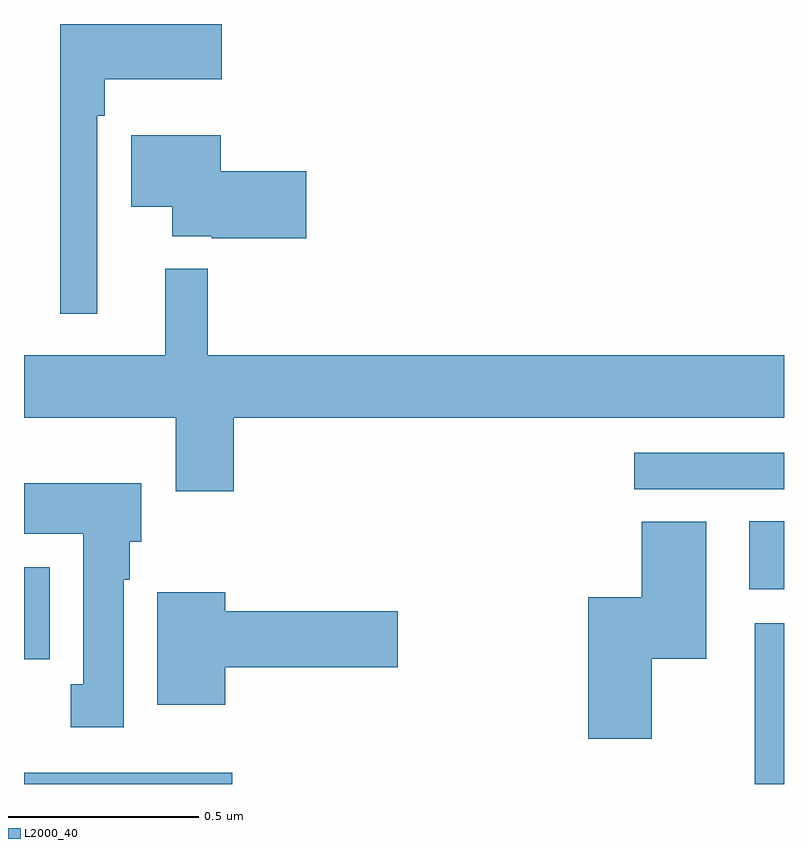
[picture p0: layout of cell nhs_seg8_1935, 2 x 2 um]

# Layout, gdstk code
import gdstk
lib = gdstk.Library(unit=1e-6, precision=1e-09)
def R(c, l, rs):  # rectangles x0, y0, x1, y1
    for r in rs: c.add(gdstk.rectangle(r[:2], r[2:], *l))
def P(c, l, *ps):  # polygons
    for p in ps: c.add(gdstk.Polygon(p, *l))
L2000_40 = (2000, 40)

nhs_seg8_1935 = lib.new_cell('nhs_seg8_1935')
R(nhs_seg8_1935, L2000_40, [(137,1084.9,137.548,1084.929), (138.923,1084.9,139,1085.323), (137,1085.228,137.068,1085.47), (138.908,1085.412,139,1085.591), (138.606,1085.676,139,1085.772)])
P(nhs_seg8_1935, L2000_40, [(137.193,1086.659),(137.213,1086.659),(137.213,1086.755),(137.521,1086.755),(137.521,1086.9),(137.096,1086.9),(137.096,1086.138),(137.193,1086.138)],
  [(137.743,1086.512),(137.518,1086.512),(137.518,1086.607),(137.282,1086.607),(137.282,1086.419),(137.39,1086.419),(137.39,1086.341),(137.494,1086.341),(137.494,1086.336),(137.743,1086.336)],
  [(137.552,1085.864),(139,1085.864),(139,1086.028),(137.484,1086.028),(137.484,1086.256),(137.372,1086.256),(137.372,1086.028),(137,1086.028),(137,1085.864),(137.399,1085.864),(137.399,1085.67),(137.552,1085.67)],
  [(137.263,1085.438),(137.278,1085.438),(137.278,1085.538),(137.308,1085.538),(137.308,1085.692),(137,1085.692),(137,1085.558),(137.156,1085.558),(137.156,1085.162),(137.123,1085.162),(137.123,1085.049),(137.263,1085.049)],
  [(138.652,1085.23),(138.796,1085.23),(138.796,1085.59),(138.626,1085.59),(138.626,1085.392),(138.485,1085.392),(138.485,1085.019),(138.652,1085.019)],
  [(137.53,1085.207),(137.983,1085.207),(137.983,1085.354),(137.53,1085.354),(137.53,1085.404),(137.351,1085.404),(137.351,1085.108),(137.53,1085.108)])

lib.write_gds('nhs_seg8_1935.gds')
